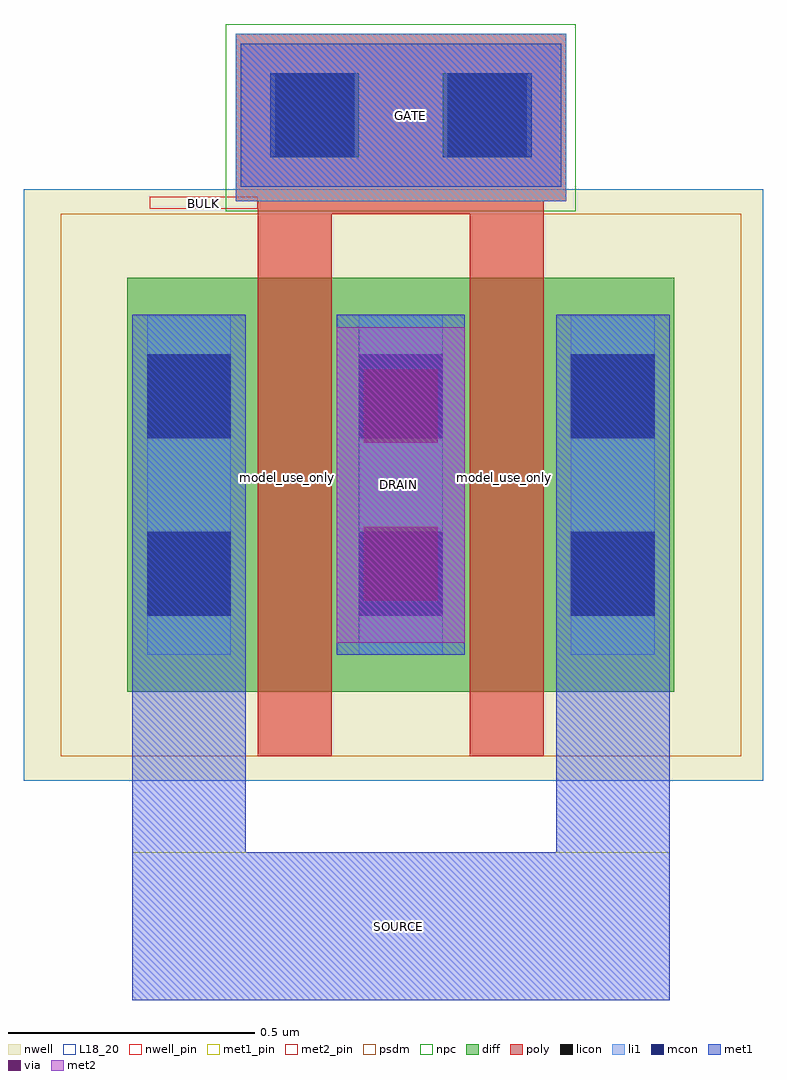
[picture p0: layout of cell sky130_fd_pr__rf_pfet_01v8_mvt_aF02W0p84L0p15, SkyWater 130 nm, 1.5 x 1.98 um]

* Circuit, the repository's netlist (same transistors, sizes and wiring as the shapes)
* Copyright 2020 The SkyWater PDK Authors
*
* Licensed under the Apache License, Version 2.0 (the "License");
* you may not use this file except in compliance with the License.
* You may obtain a copy of the License at
*
*     https://www.apache.org/licenses/LICENSE-2.0
*
* Unless required by applicable law or agreed to in writing, software
* distributed under the License is distributed on an "AS IS" BASIS,
* WITHOUT WARRANTIES OR CONDITIONS OF ANY KIND, either express or implied.
* See the License for the specific language governing permissions and
* limitations under the License.
*
* SPDX-License-Identifier: Apache-2.0


.subckt sky130_fd_pr__rf_pfet_01v8_mvt_aF02W0p84L0p15 BULK DRAIN GATE SOURCE
X0 DRAIN GATE SOURCE BULK sky130_fd_pr__pfet_01v8_mvt w=840000u l=150000u
X1 SOURCE GATE DRAIN BULK sky130_fd_pr__pfet_01v8_mvt w=840000u l=150000u
.ends

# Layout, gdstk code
import gdstk
lib = gdstk.Library(unit=1e-6, precision=1e-09)
def R(c, l, rs):  # rectangles x0, y0, x1, y1
    for r in rs: c.add(gdstk.rectangle(r[:2], r[2:], *l))
def A(c, l, x, y, w, h, nx, ny, dx, dy):  # array of equal rectangles
    R(c, l, [(x+i*dx, y+j*dy, x+i*dx+w, y+j*dy+h) for i in range(nx) for j in range(ny)])
L18_20 = (18, 20)
nwell_pin = (64, 16)
nwell = (64, 20)
diff = (65, 20)
poly = (66, 20)
licon = (66, 44)
li1 = (67, 20)
mcon = (67, 44)
met1_pin = (68, 16)
met1 = (68, 20)
via = (68, 44)
met2_pin = (69, 16)
met2 = (69, 20)
psdm = (94, 20)
npc = (95, 20)

sky130_fd_pr__rf_pfet_01 = lib.new_cell('sky130_fd_pr__rf_pfet_01v8_mvt_aF02W0p84L0p15')
R(sky130_fd_pr__rf_pfet_01, L18_20, [(0,0,1.5,1.2)])
R(sky130_fd_pr__rf_pfet_01, nwell_pin, [(0.255,1.16,0.475,1.185)])
R(sky130_fd_pr__rf_pfet_01, nwell, [(0,0,1.5,1.2)])
R(sky130_fd_pr__rf_pfet_01, diff, [(0.21,0.18,0.475,1.02), (0.24,0.18,0.475,1.02), (0.475,0.18,0.625,1.02), (0.625,0.18,0.905,1.02), (0.905,0.18,1.055,1.02), (1.055,0.18,1.32,1.02), (1.055,0.18,1.32,1.02)])
R(sky130_fd_pr__rf_pfet_01, poly, [(0.475,0.05,0.625,0.18), (0.475,0.05,0.625,1.15), (0.905,0.05,1.055,0.18), (0.905,0.05,1.055,1.15), (0.475,1.02,0.625,1.15), (0.905,1.02,1.055,1.15), (0.475,1.15,1.055,1.515), (0.43,1.175,1.1,1.515)])
A(sky130_fd_pr__rf_pfet_01, licon, 0.25, 0.335, 0.17, 0.17, 3, 2, 0.43, 0.36)
R(sky130_fd_pr__rf_pfet_01, licon, [(0.51,1.265,0.68,1.435), (0.85,1.265,1.02,1.435)])
A(sky130_fd_pr__rf_pfet_01, li1, 0.25, 0.255, 0.17, 0.69, 3, 1, 0.43, 0)
R(sky130_fd_pr__rf_pfet_01, li1, [(0.43,1.175,1.1,1.515), (0.5,1.265,1.03,1.435)])
A(sky130_fd_pr__rf_pfet_01, mcon, 0.25, 0.335, 0.17, 0.17, 3, 2, 0.43, 0.36)
R(sky130_fd_pr__rf_pfet_01, mcon, [(0.5,1.265,0.67,1.435), (0.86,1.265,1.03,1.435)])
R(sky130_fd_pr__rf_pfet_01, met1_pin, [(0.22,-0.445,1.31,-0.145), (0.44,1.205,1.09,1.495)])
R(sky130_fd_pr__rf_pfet_01, met1, [(0.635,0.275,0.895,0.925), (0.44,1.205,1.09,1.495)])
R(sky130_fd_pr__rf_pfet_01, via, [(0.69,0.365,0.84,0.515), (0.69,0.685,0.84,0.835)])
R(sky130_fd_pr__rf_pfet_01, met2_pin, [(0.635,0.28,0.895,0.92)])
R(sky130_fd_pr__rf_pfet_01, met2, [(0.635,0.28,0.895,0.92)])
R(sky130_fd_pr__rf_pfet_01, psdm, [(0.075,0.05,0.605,1.15), (0.24,0.05,0.625,1.15), (0.495,0.05,1.035,1.15), (0.655,0.05,1.055,1.15), (0.925,0.05,1.455,1.15)])
R(sky130_fd_pr__rf_pfet_01, npc, [(0.41,1.155,1.12,1.535)])
sky130_fd_pr__rf_pfet_01.add(gdstk.FlexPath([(0.335,0.945),(0.335,-0.445)], 0.23, ends="flush", simple_path=True, layer=68, datatype=20))  # met1
sky130_fd_pr__rf_pfet_01.add(gdstk.FlexPath([(0.22,-0.295),(1.31,-0.295)], 0.3, ends="flush", simple_path=True, layer=68, datatype=20))  # met1
sky130_fd_pr__rf_pfet_01.add(gdstk.FlexPath([(0.765,0.945),(0.765,0.255)], 0.26, ends="flush", simple_path=True, layer=68, datatype=20))  # met1
sky130_fd_pr__rf_pfet_01.add(gdstk.FlexPath([(1.195,0.945),(1.195,-0.445)], 0.23, ends="flush", simple_path=True, layer=68, datatype=20))  # met1
sky130_fd_pr__rf_pfet_01.add(gdstk.Label('model_use_only', (0.535,0.615), layer=66, texttype=83))
sky130_fd_pr__rf_pfet_01.add(gdstk.Label('model_use_only', (0.975,0.615), layer=66, texttype=83))
sky130_fd_pr__rf_pfet_01.add(gdstk.Label('DRAIN', (0.76,0.6), layer=69, texttype=16))
sky130_fd_pr__rf_pfet_01.add(gdstk.Label('SOURCE', (0.76,-0.295), layer=68, texttype=16))
sky130_fd_pr__rf_pfet_01.add(gdstk.Label('GATE', (0.785,1.35), layer=68, texttype=16))
sky130_fd_pr__rf_pfet_01.add(gdstk.Label('BULK', (0.365,1.17), layer=64, texttype=5))

lib.write_gds('sky130_fd_pr__rf_pfet_01v8_mvt_aF02W0p84L0p15.gds')
